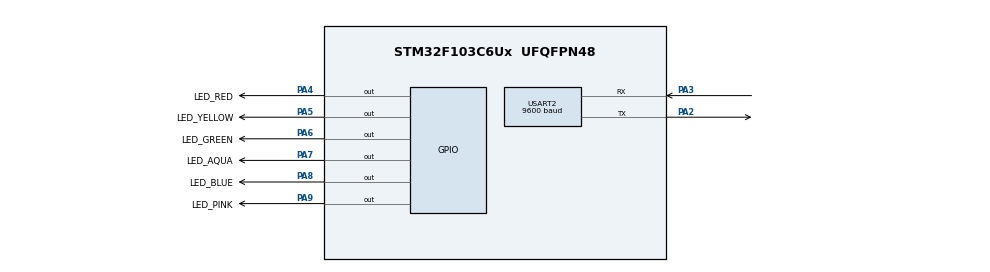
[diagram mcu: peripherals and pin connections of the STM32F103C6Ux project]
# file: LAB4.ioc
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Mcu.Family=STM32F1
Mcu.Name=STM32F103C6Ux
Mcu.Package=UFQFPN48
NVIC.PriorityGroup=NVIC_PRIORITYGROUP_4
NVIC.TIM2_IRQn=true\:0\:0\:false\:false\:true\:true\:true
NVIC.USART2_IRQn=true\:0\:0\:false\:false\:true\:true\:true
PA2.Mode=Asynchronous
PA2.Signal=USART2_TX
PA3.GPIO_PuPd=GPIO_PULLDOWN
PA3.Mode=Asynchronous
PA3.Signal=USART2_RX
PA4.GPIO_Label=LED_RED
PA4.GPIO_PuPd=GPIO_PULLUP
PA4.Signal=GPIO_Output
PA5.GPIO_Label=LED_YELLOW
PA5.GPIO_PuPd=GPIO_PULLUP
PA5.Signal=GPIO_Output
PA6.GPIO_Label=LED_GREEN
PA6.GPIO_PuPd=GPIO_PULLUP
PA6.Signal=GPIO_Output
PA7.GPIO_Label=LED_AQUA
PA7.GPIO_PuPd=GPIO_PULLUP
PA7.Signal=GPIO_Output
PA8.GPIO_Label=LED_BLUE
PA8.GPIO_PuPd=GPIO_PULLUP
PA8.Signal=GPIO_Output
PA9.GPIO_Label=LED_PINK
PA9.GPIO_PuPd=GPIO_PULLUP
PA9.Signal=GPIO_Output
ProjectManager.HeapSize=0x200
ProjectManager.StackSize=0x400
ProjectManager.TargetToolchain=STM32CubeIDE
RCC.APB1Freq_Value=8000000
RCC.APB2Freq_Value=8000000
TIM2.Period=9
TIM2.Prescaler=7999
USART2.BaudRate=9600
USART2.VirtualMode=VM_ASYNC
VP_SYS_VS_ND.Mode=No_Debug
VP_TIM2_VS_ClockSourceINT.Mode=Internal
board=custom

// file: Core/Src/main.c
/* USER CODE BEGIN Header */
/**
  ******************************************************************************
  * @file           : main.c
  * @brief          : Main program body
  ******************************************************************************
  * @attention
  *
  * <h2><center>&copy; Copyright (c) 2024 STMicroelectronics.
  * All rights reserved.</center></h2>
  *
  * This software component is licensed by ST under BSD 3-Clause license,
  * the "License"; You may not use this file except in compliance with the
  * License. You may obtain a copy of the License at:
  *                        opensource.org/licenses/BSD-3-Clause
  *
  ******************************************************************************
  */
/* USER CODE END Header */
#include "main.h"

/* USER CODE BEGIN Includes */
#include <stdio.h>
#include "scheduler.h"
#include "output.h"

/* USER CODE END Includes */

/* USER CODE BEGIN PTD */
void SCH_Update(void);
/* USER CODE END PTD */

TIM_HandleTypeDef htim2;

UART_HandleTypeDef huart2;

void SystemClock_Config(void);
static void MX_TIM2_Init(void);
static void MX_GPIO_Init(void);
static void MX_USART2_UART_Init(void);
/* USER CODE BEGIN PFP */
static void timePrint(void);
/* USER CODE END PFP */

/* USER CODE BEGIN 0 */
uint8_t temp = 0;

/* Map function pointer -> tên task để in ra terminal */
static const char* taskNameFor(void (*pTask)(void)) {
    if (pTask == ledRedToggle)    return "ledRedToggle";
    if (pTask == ledYellowToggle) return "ledYellowToggle";
    if (pTask == ledGreenToggle)  return "ledGreenToggle";
    if (pTask == ledAquaToggle)   return "ledAquaToggle";
    if (pTask == ledBlueToggle)   return "ledBlueToggle";
    if (pTask == ledPinkToggle)   return "ledPinkToggle";
    if (pTask == timePrint)       return "timePrint";
    if (pTask == NULL)            return "none";
    return "unknown";
}

void HAL_UART_RxCpltCallback(UART_HandleTypeDef *huart) {
    if(huart->Instance == USART2) {
        HAL_UART_Receive_IT(&huart2, &temp, 1);
        HAL_UART_Transmit(&huart2, &temp, 1, 50);
    }
}

/* Chỉ in khi có log trong buffer, và mặc định bỏ qua các log của chính timePrint */
void timePrint(void) {
    while (SCH_LogHead != SCH_LogTail) {
        /* Lấy 1 log từ buffer */
        SCH_DispatchLog log = SCH_DispatchLogs[SCH_LogHead];
        SCH_LogHead = (uint8_t)((SCH_LogHead + 1) % SCH_LOG_SIZE);

        /* Bỏ qua chính timePrint nếu không muốn nhìn thấy */
        if (log.pTask == timePrint) {
            continue;
        }

        const char* name = taskNameFor(log.pTask);
        char str[100];
        int len = snprintf(str, sizeof(str), "%lu ms - dispatch: %s (id=%u)\r\n",
                           (unsigned long)log.tick, name, (unsigned)log.id);
        if (len > 0) {
            HAL_UART_Transmit(&huart2, (uint8_t*)str, (uint16_t)len, 50);
        }
    }
}
/* USER CODE END 0 */

int main(void)
{

  /* MCU Configuration--------------------------------------------------------*/

  /* Reset of all peripherals, Initializes the Flash interface and the Systick. */
  HAL_Init();

  /* Configure the system clock */
  SystemClock_Config();

  /* Initialize all configured peripherals */
  MX_TIM2_Init();
  MX_GPIO_Init();
  MX_USART2_UART_Init();
  /* USER CODE BEGIN 2 */
  HAL_TIM_Base_Start_IT(&htim2);
  HAL_UART_Receive_IT(&huart2, &temp, 1);
  SCH_Init();

  /* USER CODE END 2 */

  /* Infinite loop */
  /* USER CODE BEGIN WHILE */

  SCH_AddTask(ledRedToggle, 1000, 0);
  SCH_AddTask(ledYellowToggle, 0, 500);
  SCH_AddTask(ledGreenToggle, 0, 1000);
  SCH_AddTask(ledAquaToggle, 0, 1500);
  SCH_AddTask(ledBlueToggle, 0, 2000);
  SCH_AddTask(ledPinkToggle, 0, 2500);
  SCH_AddTask(timePrint, 0, 10);

  while (1)
  {
	  SCH_Dispatch();
    /* USER CODE END WHILE */

  }
}

void SystemClock_Config(void)
{
  RCC_OscInitTypeDef RCC_OscInitStruct = {0};
  RCC_ClkInitTypeDef RCC_ClkInitStruct = {0};

  /** Initializes the RCC Oscillators according to the specified parameters
  * in the RCC_OscInitTypeDef structure.
  */
  RCC_OscInitStruct.OscillatorType = RCC_OSCILLATORTYPE_HSI;
  RCC_OscInitStruct.HSIState = RCC_HSI_ON;
  RCC_OscInitStruct.HSICalibrationValue = RCC_HSICALIBRATION_DEFAULT;
  RCC_OscInitStruct.PLL.PLLState = RCC_PLL_NONE;
  if (HAL_RCC_OscConfig(&RCC_OscInitStruct) != HAL_OK)
  {
    Error_Handler();
  }
  /** Initializes the CPU, AHB and APB buses clocks
  */
  RCC_ClkInitStruct.ClockType = RCC_CLOCKTYPE_HCLK|RCC_CLOCKTYPE_SYSCLK
                              |RCC_CLOCKTYPE_PCLK1|RCC_CLOCKTYPE_PCLK2;
  RCC_ClkInitStruct.SYSCLKSource = RCC_SYSCLKSOURCE_HSI;
  RCC_ClkInitStruct.AHBCLKDivider = RCC_SYSCLK_DIV1;
  RCC_ClkInitStruct.APB1CLKDivider = RCC_HCLK_DIV1;
  RCC_ClkInitStruct.APB2CLKDivider = RCC_HCLK_DIV1;

  if (HAL_RCC_ClockConfig(&RCC_ClkInitStruct, FLASH_LATENCY_0) != HAL_OK)
  {
    Error_Handler();
  }
}

static void MX_TIM2_Init(void)
{

  TIM_ClockConfigTypeDef sClockSourceConfig = {0};
  TIM_MasterConfigTypeDef sMasterConfig = {0};

  htim2.Instance = TIM2;
  htim2.Init.Prescaler = 7999;
  htim2.Init.CounterMode = TIM_COUNTERMODE_UP;
  htim2.Init.Period = 9;
  htim2.Init.ClockDivision = TIM_CLOCKDIVISION_DIV1;
  htim2.Init.AutoReloadPreload = TIM_AUTORELOAD_PRELOAD_DISABLE;
  if (HAL_TIM_Base_Init(&htim2) != HAL_OK)
  {
    Error_Handler();
  }
  sClockSourceConfig.ClockSource = TIM_CLOCKSOURCE_INTERNAL;
  if (HAL_TIM_ConfigClockSource(&htim2, &sClockSourceConfig) != HAL_OK)
  {
    Error_Handler();
  }
  sMasterConfig.MasterOutputTrigger = TIM_TRGO_RESET;
  sMasterConfig.MasterSlaveMode = TIM_MASTERSLAVEMODE_DISABLE;
  if (HAL_TIMEx_MasterConfigSynchronization(&htim2, &sMasterConfig) != HAL_OK)
  {
    Error_Handler();
  }

}

static void MX_USART2_UART_Init(void)
{

  huart2.Instance = USART2;
  huart2.Init.BaudRate = 9600;
  huart2.Init.WordLength = UART_WORDLENGTH_8B;
  huart2.Init.StopBits = UART_STOPBITS_1;
  huart2.Init.Parity = UART_PARITY_NONE;
  huart2.Init.Mode = UART_MODE_TX_RX;
  huart2.Init.HwFlowCtl = UART_HWCONTROL_NONE;
  huart2.Init.OverSampling = UART_OVERSAMPLING_16;
  if (HAL_UART_Init(&huart2) != HAL_OK)
  {
    Error_Handler();
  }

}

static void MX_GPIO_Init(void)
{
  GPIO_InitTypeDef GPIO_InitStruct = {0};

  /* GPIO Ports Clock Enable */
  __HAL_RCC_GPIOA_CLK_ENABLE();

  /*Configure GPIO pin Output Level */
  HAL_GPIO_WritePin(GPIOA, LED_RED_Pin|LED_YELLOW_Pin|LED_GREEN_Pin|LED_AQUA_Pin
                          |LED_BLUE_Pin|LED_PINK_Pin, GPIO_PIN_RESET);

  /*Configure GPIO pins : LED_RED_Pin LED_YELLOW_Pin LED_GREEN_Pin LED_AQUA_Pin
                           LED_BLUE_Pin LED_PINK_Pin */
  GPIO_InitStruct.Pin = LED_RED_Pin|LED_YELLOW_Pin|LED_GREEN_Pin|LED_AQUA_Pin
                          |LED_BLUE_Pin|LED_PINK_Pin;
  GPIO_InitStruct.Mode = GPIO_MODE_OUTPUT_PP;
  GPIO_InitStruct.Pull = GPIO_PULLUP;
  GPIO_InitStruct.Speed = GPIO_SPEED_FREQ_LOW;
  HAL_GPIO_Init(GPIOA, &GPIO_InitStruct);

}

/* USER CODE BEGIN 4 */
void HAL_TIM_PeriodElapsedCallback(TIM_HandleTypeDef *htim){
	if (htim->Instance == TIM2) {
	    SCH_Update();
	}

}
/* USER CODE END 4 */

void Error_Handler(void)
{
  __disable_irq();
  while (1)
  {
  }
}

/************************ (C) COPYRIGHT STMicroelectronics *****END OF FILE****/
